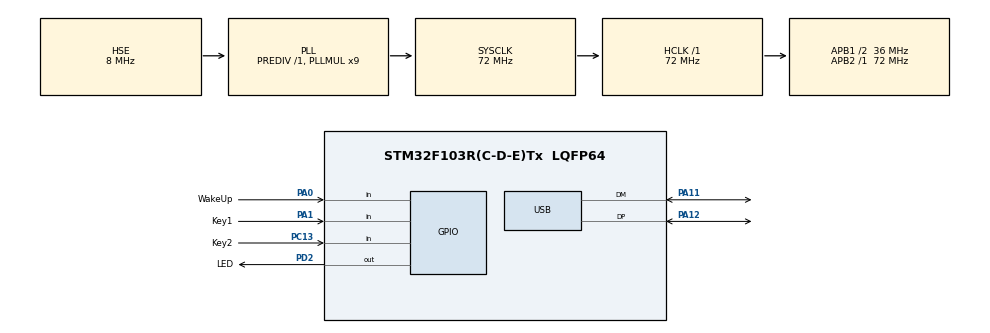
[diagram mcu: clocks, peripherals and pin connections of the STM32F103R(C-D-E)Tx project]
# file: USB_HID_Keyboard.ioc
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Mcu.Family=STM32F1
Mcu.Name=STM32F103R(C-D-E)Tx
Mcu.Package=LQFP64
NVIC.PriorityGroup=NVIC_PRIORITYGROUP_4
NVIC.TIM6_IRQn=true\:1\:0\:true\:false\:true\:true\:true\:true
NVIC.USB_LP_CAN1_RX0_IRQn=true\:0\:0\:false\:false\:true\:false\:true\:true
PA0-WKUP.GPIO_Label=WakeUp
PA0-WKUP.GPIO_PuPd=GPIO_PULLDOWN
PA0-WKUP.Signal=GPIO_Input
PA1.GPIO_Label=Key1
PA1.GPIO_PuPd=GPIO_PULLUP
PA1.Signal=GPIO_Input
PA11.Mode=Device
PA11.Signal=USB_DM
PA12.Mode=Device
PA12.Signal=USB_DP
PA13.Mode=Serial_Wire
PA13.Signal=SYS_JTMS-SWDIO
PA14.Mode=Serial_Wire
PA14.Signal=SYS_JTCK-SWCLK
PC13-TAMPER-RTC.GPIO_Label=Key2
PC13-TAMPER-RTC.GPIO_PuPd=GPIO_PULLUP
PC13-TAMPER-RTC.Signal=GPIO_Input
PD0-OSC_IN.Mode=HSE-External-Oscillator
PD0-OSC_IN.Signal=RCC_OSC_IN
PD1-OSC_OUT.Mode=HSE-External-Oscillator
PD1-OSC_OUT.Signal=RCC_OSC_OUT
PD2.GPIO_Label=LED
PD2.GPIO_PuPd=GPIO_PULLUP
PD2.GPIO_Speed=GPIO_SPEED_FREQ_HIGH
PD2.PinState=GPIO_PIN_SET
PD2.Signal=GPIO_Output
ProjectManager.HeapSize=0x200
ProjectManager.StackSize=0x400
ProjectManager.TargetToolchain=MDK-ARM V5.32
RCC.AHBFreq_Value=72000000
RCC.APB1CLKDivider=RCC_HCLK_DIV2
RCC.APB1Freq_Value=36000000
RCC.APB1TimFreq_Value=72000000
RCC.APB2Freq_Value=72000000
RCC.APB2TimFreq_Value=72000000
RCC.HCLKFreq_Value=72000000
RCC.PLLMUL=RCC_PLL_MUL9
RCC.SYSCLKFreq_VALUE=72000000
RCC.SYSCLKSource=RCC_SYSCLKSOURCE_PLLCLK
RCC.USBFreq_Value=48000000
RCC.USBPrescaler=RCC_USBCLKSOURCE_PLL_DIV1_5
TIM6.AutoReloadPreload=TIM_AUTORELOAD_PRELOAD_ENABLE
TIM6.Period=999
TIM6.Prescaler=71
TIM6.TIM_MasterOutputTrigger=TIM_TRGO_RESET
USB_DEVICE.CLASS_NAME_FS=HID
USB_DEVICE.VirtualMode=Hid
USB_DEVICE.VirtualModeFS=Hid_FS
VP_TIM6_VS_ClockSourceINT.Mode=Enable_Timer
VP_USB_DEVICE_VS_USB_DEVICE_HID_FS.Mode=HID_FS
board=custom

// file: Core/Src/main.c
/* USER CODE BEGIN Header */
/**
  ******************************************************************************
  * @file           : main.c
  * @brief          : Main program body
  ******************************************************************************
  * @attention
  *
  * Copyright (c) 2024 STMicroelectronics.
  * All rights reserved.
  *
  * This software is licensed under terms that can be found in the LICENSE file
  * in the root directory of this software component.
  * If no LICENSE file comes with this software, it is provided AS-IS.
  *
  ******************************************************************************
  */
/* USER CODE END Header */
#include "main.h"
#include "tim.h"
#include "usb_device.h"
#include "gpio.h"

/* USER CODE BEGIN Includes */
#include "usbd_hid.h"
#include "string.h"
#include "key.h"
/* USER CODE END Includes */

/* USER CODE BEGIN PV */
extern USBD_HandleTypeDef hUsbDeviceFS;
/*
 * buffer[0] - bit0: Left CTRL
 *           -bit1: Left SHIFT
 *           -bit2: Left ALT
 *           -bit3: Left GUI
 *           -bit4: Right CTRL
 *           -bit5: Right SHIFT
 *           -bit6: Right ALT
 *           -bit7: Right GUI
 * buffer[1] - Padding = Always 0x00
 * buffer[2] - Key 1
 * buffer[3] - Key 2
 * buffer[4] - Key 3
 * buffer[5] - Key 4
 * buffer[6] - Key 5
 * buffer[7] - Key 6
 */
uint8_t HidKeyboardBuf[8];
/* USER CODE END PV */

void SystemClock_Config(void);

/* USER CODE BEGIN 0 */

void HAL_TIM_PeriodElapsedCallback(TIM_HandleTypeDef *htim)
{
  static __IO uint16_t cnt  = 0;
	if(htim == &htim6)
  {
    if(++cnt == 20)
    {
      cnt = 0;
      key_scan();
    }
  }
}

/* USER CODE END 0 */

int main(void)
{

  /* MCU Configuration--------------------------------------------------------*/

  /* Reset of all peripherals, Initializes the Flash interface and the Systick. */
  HAL_Init();

  /* Configure the system clock */
  SystemClock_Config();

  /* Initialize all configured peripherals */
  MX_GPIO_Init();
  MX_USB_DEVICE_Init();
  MX_TIM6_Init();
  /* USER CODE BEGIN 2 */
  key_init();
  /* USER CODE END 2 */

  /* Infinite loop */
  while (1)
  {

    /* USER CODE BEGIN 3 */
    HAL_Delay(USBD_HID_GetPollingInterval(&hUsbDeviceFS));
    memset(&HidKeyboardBuf, 0, sizeof(HidKeyboardBuf));
    switch(Key_Val)
    {
      case Key_Enter:
      HidKeyboardBuf[2] = 0x04; // 'a'
      break;

      case Key_Up:
      HidKeyboardBuf[2] = 0x1b; // 'x'
      break;

      case Key_Down:
      HidKeyboardBuf[2] = 0x1d; // 'z'
      break;
    }

    if(Key_Val != Key_None)
    {
     HAL_GPIO_WritePin(LED_GPIO_Port, LED_Pin, GPIO_PIN_RESET);
     HAL_Delay(100);
     HAL_GPIO_WritePin(LED_GPIO_Port, LED_Pin, GPIO_PIN_SET);
     Key_Val = Key_None;
    }

    USBD_HID_SendReport(&hUsbDeviceFS, HidKeyboardBuf, sizeof(HidKeyboardBuf));
  }
  /* USER CODE END 3 */
}

void SystemClock_Config(void)
{
  RCC_OscInitTypeDef RCC_OscInitStruct = {0};
  RCC_ClkInitTypeDef RCC_ClkInitStruct = {0};
  RCC_PeriphCLKInitTypeDef PeriphClkInit = {0};

  /** Initializes the RCC Oscillators according to the specified parameters
  * in the RCC_OscInitTypeDef structure.
  */
  RCC_OscInitStruct.OscillatorType = RCC_OSCILLATORTYPE_HSE;
  RCC_OscInitStruct.HSEState = RCC_HSE_ON;
  RCC_OscInitStruct.HSEPredivValue = RCC_HSE_PREDIV_DIV1;
  RCC_OscInitStruct.HSIState = RCC_HSI_ON;
  RCC_OscInitStruct.PLL.PLLState = RCC_PLL_ON;
  RCC_OscInitStruct.PLL.PLLSource = RCC_PLLSOURCE_HSE;
  RCC_OscInitStruct.PLL.PLLMUL = RCC_PLL_MUL9;
  if (HAL_RCC_OscConfig(&RCC_OscInitStruct) != HAL_OK)
  {
    Error_Handler();
  }

  /** Initializes the CPU, AHB and APB buses clocks
  */
  RCC_ClkInitStruct.ClockType = RCC_CLOCKTYPE_HCLK|RCC_CLOCKTYPE_SYSCLK
                              |RCC_CLOCKTYPE_PCLK1|RCC_CLOCKTYPE_PCLK2;
  RCC_ClkInitStruct.SYSCLKSource = RCC_SYSCLKSOURCE_PLLCLK;
  RCC_ClkInitStruct.AHBCLKDivider = RCC_SYSCLK_DIV1;
  RCC_ClkInitStruct.APB1CLKDivider = RCC_HCLK_DIV2;
  RCC_ClkInitStruct.APB2CLKDivider = RCC_HCLK_DIV1;

  if (HAL_RCC_ClockConfig(&RCC_ClkInitStruct, FLASH_LATENCY_2) != HAL_OK)
  {
    Error_Handler();
  }
  PeriphClkInit.PeriphClockSelection = RCC_PERIPHCLK_USB;
  PeriphClkInit.UsbClockSelection = RCC_USBCLKSOURCE_PLL_DIV1_5;
  if (HAL_RCCEx_PeriphCLKConfig(&PeriphClkInit) != HAL_OK)
  {
    Error_Handler();
  }
}

void Error_Handler(void)
{
  __disable_irq();
  while (1)
  {
  }
}
